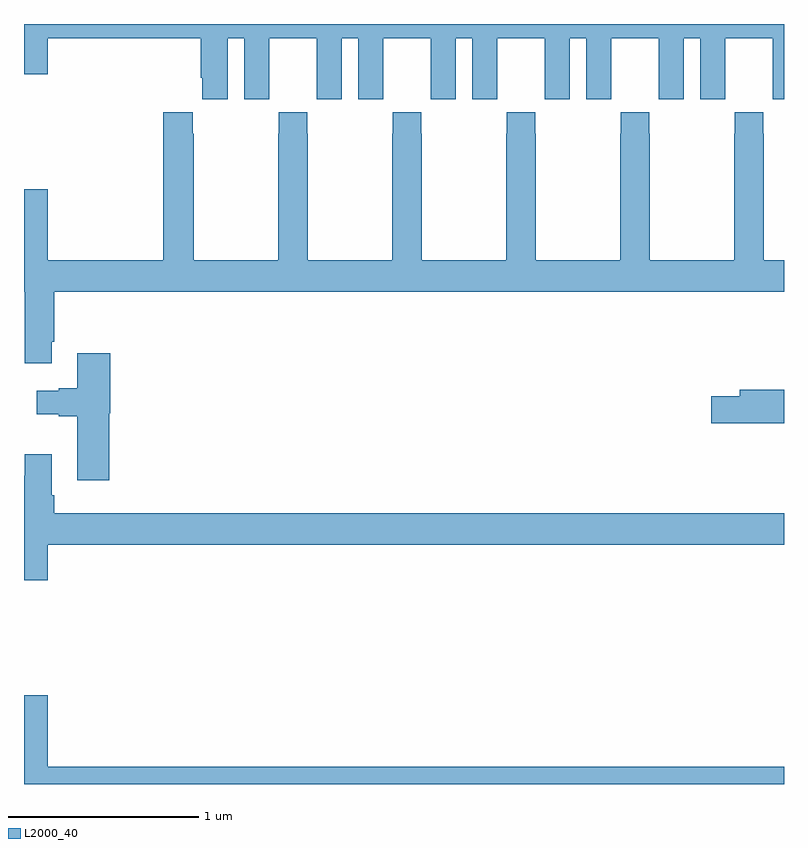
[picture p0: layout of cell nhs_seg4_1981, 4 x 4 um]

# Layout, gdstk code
import gdstk
lib = gdstk.Library(unit=1e-6, precision=1e-09)
def P(c, l, *ps):  # polygons
    for p in ps: c.add(gdstk.Polygon(p, *l))
L2000_40 = (2000, 40)

nhs_seg4_1981 = lib.new_cell('nhs_seg4_1981')
P(nhs_seg4_1981, L2000_40, [(213,792.636),(213.124,792.636),(213.124,792.824),(213.929,792.824),(213.929,792.616),(213.938,792.616),(213.938,792.504),(214.072,792.504),(214.072,792.824),(214.16,792.824),(214.16,792.504),(214.29,792.504),(214.29,792.616),(214.291,792.616),(214.291,792.824),(214.541,792.824),(214.541,792.616),(214.542,792.616),(214.542,792.504),(214.672,792.504),(214.672,792.824),(214.76,792.824),(214.76,792.504),(214.89,792.504),(214.89,792.616),(214.891,792.616),(214.891,792.824),(215.141,792.824),(215.141,792.616),(215.142,792.616),(215.142,792.504),(215.272,792.504),(215.272,792.824),(215.36,792.824),(215.36,792.504),(215.49,792.504),(215.49,792.616),(215.491,792.616),(215.491,792.824),(215.741,792.824),(215.741,792.616),(215.742,792.616),(215.742,792.504),(215.872,792.504),(215.872,792.824),(215.96,792.824),(215.96,792.504),(216.09,792.504),(216.09,792.616),(216.091,792.616),(216.091,792.824),(216.341,792.824),(216.341,792.616),(216.342,792.616),(216.342,792.504),(216.472,792.504),(216.472,792.824),(216.56,792.824),(216.56,792.504),(216.69,792.504),(216.69,792.616),(216.691,792.616),(216.691,792.824),(216.941,792.824),(216.941,792.616),(216.942,792.616),(216.942,792.504),(217,792.504),(217,792.9),(213,792.9)],
  [(215.541,792.436),(215.541,792.323),(215.539,792.323),(215.539,791.656),(215.094,791.656),(215.094,792.323),(215.091,792.323),(215.091,792.436),(214.941,792.436),(214.941,792.323),(214.939,792.323),(214.939,791.656),(214.494,791.656),(214.494,792.323),(214.491,792.323),(214.491,792.436),(214.341,792.436),(214.341,792.323),(214.339,792.323),(214.339,791.656),(213.894,791.656),(213.894,792.323),(213.887,792.323),(213.887,792.436),(213.734,792.436),(213.734,791.656),(213.124,791.656),(213.124,792.031),(213,792.031),(213,791.492),(213.005,791.492),(213.005,791.115),(213.145,791.115),(213.145,791.227),(213.158,791.227),(213.158,791.492),(217,791.492),(217,791.656),(216.894,791.656),(216.894,792.323),(216.891,792.323),(216.891,792.436),(216.741,792.436),(216.741,792.323),(216.739,792.323),(216.739,791.656),(216.294,791.656),(216.294,792.323),(216.291,792.323),(216.291,792.436),(216.141,792.436),(216.141,792.323),(216.139,792.323),(216.139,791.656),(215.694,791.656),(215.694,792.323),(215.691,792.323),(215.691,792.436)],
  [(213.449,790.851),(213.454,790.851),(213.454,791.167),(213.281,791.167),(213.281,790.982),(213.182,790.982),(213.182,790.969),(213.066,790.969),(213.066,790.847),(213.182,790.847),(213.182,790.835),(213.281,790.835),(213.281,790.5),(213.449,790.5)],
  [(217,790.976),(216.767,790.976),(216.767,790.94),(216.618,790.94),(216.618,790.798),(217,790.798)],
  [(213.124,790.16),(217,790.16),(217,790.324),(213.158,790.324),(213.158,790.42),(213.145,790.42),(213.145,790.636),(213.005,790.636),(213.005,790.523),(213,790.523),(213,789.972),(213.124,789.972)],
  [(217,788.992),(213.124,788.992),(213.124,789.367),(213,789.367),(213,788.9),(217,788.9)])

lib.write_gds('nhs_seg4_1981.gds')
